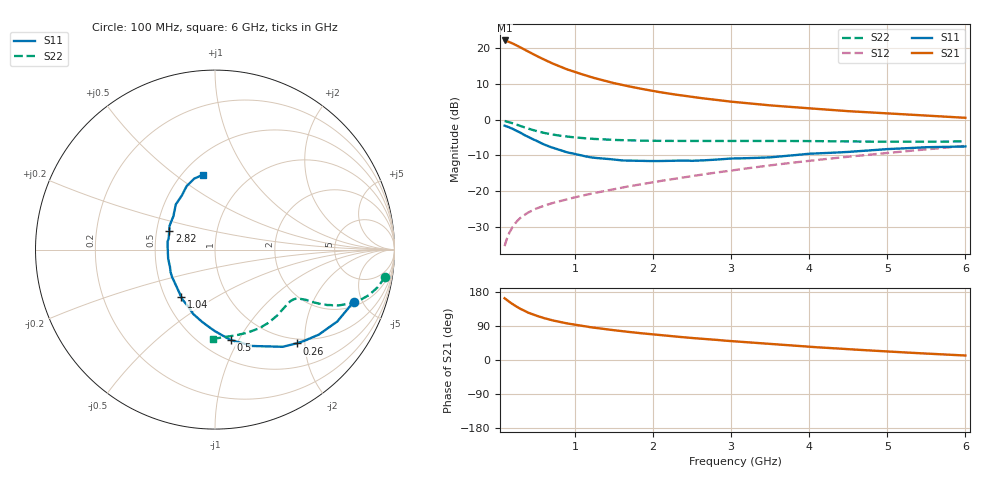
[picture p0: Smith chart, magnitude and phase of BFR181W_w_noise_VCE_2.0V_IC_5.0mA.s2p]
! Infineon Technologies  Discrete & RF Semiconductors
! BFR181W
! VCE =  2.0 V,  IC =  5.0 mA
! Common Emitter S-Parameters:  Nov 2015
# GHz  S  MA  R  50
!  f  S11  S21  S12  S22
! GHz  MAG  ANG  MAG  ANG  MAG  ANG  MAG  ANG
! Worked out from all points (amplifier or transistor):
!   192 points, 100 MHz to 6 GHz, reference 50 ohm
!   highest |S21| = 22.2 dB at 100 MHz (marker M1)
!   |S21| within 3 dB of that: start of sweep to 393.6 MHz
!   unconditionally stable (mu >= 1): 1.367 GHz to 3.198 GHz
!   at 440 MHz: K = 0.52, MSG = 22.1 dB, |S12| = -25.6 dB
!   at 1.7 GHz: K = 1.05, MAG = 12.6 dB, |S12| = -18.6 dB
!   at 6 GHz: K = 0.79, MSG = 3.9 dB, |S12| = -7.3 dB
!   lowest NFmin = 1.55 dB at 450 MHz
!   S11 on the Smith chart (normalised r, x): 100 MHz: 2.32, -4.26; 260 MHz: 0.91, -1.83; 500 MHz: 0.68, -0.93; 1.04 GHz: 0.60, -0.36; 2.82 GHz: 0.58, +0.13; 6 GHz: 0.62, +0.63
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0.1  0.8255 -20.7  12.89 162.9  0.0169 78.6  0.9604 -9.1
0.15  0.7905 -30.4  12.38 154.8  0.0247 74.3  0.9296 -13.1
0.185  0.7586 -36.5  11.91 149.8  0.0292 71.5  0.9042 -15.5
0.2  0.7477 -39.3  11.74 147.6  0.0311 70.5  0.8938 -16.5
0.26  0.6924 -49.0  10.91 140.0  0.038 66.4  0.8471 -19.7
0.3  0.6596 -55.2  10.35 135.2  0.0419 64.6  0.8182 -21.5
0.4  0.5754 -68.9  9.054 125.0  0.0499 60.8  0.7508 -24.5
0.5  0.5113 -80.2  7.927 117.3  0.0565 58.5  0.6967 -26.3
0.6  0.4523 -90.5  7.005 110.8  0.0622 57.7  0.6548 -27.4
0.7  0.4103 -99.8  6.224 105.2  0.0672 57.6  0.6233 -28.1
0.8  0.3793 -108.5  5.612 100.5  0.072 57.8  0.5985 -28.6
0.88  0.3546 -114.2  5.178 97.4  0.0759 58.1  0.5836 -28.8
1.04  0.3237 -125.6  4.512 91.8  0.0836 58.9  0.5598 -29.6
1.1  0.3126 -129.3  4.302 90.0  0.0865 59.2  0.5527 -29.8
1.2  0.2972 -136.0  3.962 86.5  0.0915 59.7  0.541 -30.3
1.5  0.2774 -153.1  3.255 78.5  0.1061 61.5  0.5209 -32.0
2.08  0.2635 -179.1  2.441 65.9  0.1375 64.0  0.5051 -36.6
2.82  0.2764 157.4  1.889 53.0  0.1823 65.0  0.5035 -44.3
3.1  0.2871 150.2  1.747 48.3  0.2007 64.9  0.5042 -47.9
4.1  0.3367 128.9  1.417 33.6  0.2727 62.2  0.5009 -62.2
5.1  0.3915 112.5  1.211 21.3  0.35 57.7  0.4908 -77.7
6  0.4217 99.4  1.063 11.8  0.4298 52.5  0.498 -91.6
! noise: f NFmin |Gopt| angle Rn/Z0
0.45  1.55  0.48  17  0.36
0.9  1.65  0.4  35  0.34
1.8  2  0.18  88  0.34
